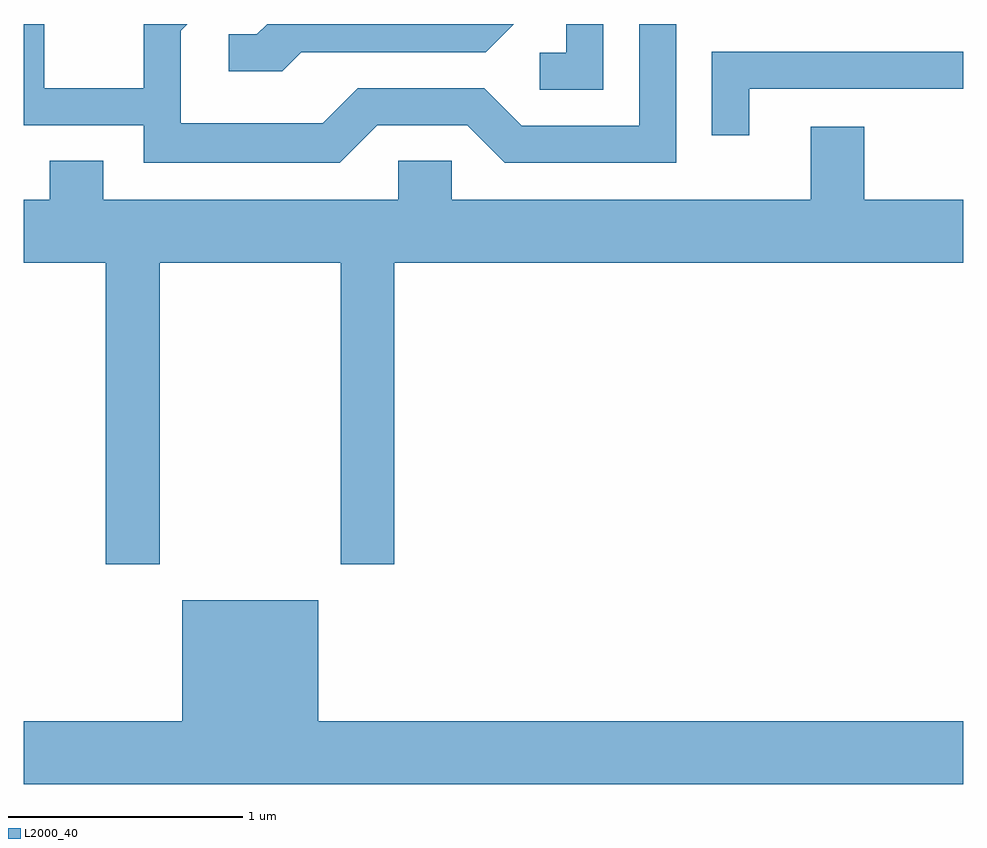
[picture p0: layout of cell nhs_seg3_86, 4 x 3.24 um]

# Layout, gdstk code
import gdstk
lib = gdstk.Library(unit=1e-6, precision=1e-09)
def P(c, l, *ps):  # polygons
    for p in ps: c.add(gdstk.Polygon(p, *l))
L2000_40 = (2000, 40)

nhs_seg3_86 = lib.new_cell('nhs_seg3_86')
P(nhs_seg3_86, L2000_40, [(190.079,1155.892),(189.921,1155.892),(189.921,1155.769),(189.808,1155.769),(189.808,1155.611),(190.079,1155.611)],
  [(188.792,1155.771),(189.577,1155.771),(189.697,1155.892),(188.647,1155.892),(188.604,1155.849),(188.483,1155.849),(188.483,1155.691),(188.712,1155.691)],
  [(189.117,1155.461),(189.499,1155.461),(189.659,1155.301),(190.389,1155.301),(190.389,1155.892),(190.231,1155.892),(190.231,1155.459),(189.732,1155.459),(189.572,1155.619),(189.034,1155.619),(188.884,1155.469),(188.279,1155.469),(188.279,1155.864),(188.307,1155.892),(188.121,1155.892),(188.121,1155.619),(187.699,1155.619),(187.699,1155.892),(187.611,1155.892),(187.611,1155.461),(188.121,1155.461),(188.121,1155.301),(188.957,1155.301)],
  [(190.699,1155.616),(191.611,1155.616),(191.611,1155.774),(190.541,1155.774),(190.541,1155.418),(190.699,1155.418)],
  [(188.189,1154.876),(188.961,1154.876),(188.961,1153.591),(189.189,1153.591),(189.189,1154.876),(191.611,1154.876),(191.611,1155.144),(191.189,1155.144),(191.189,1155.454),(190.961,1155.454),(190.961,1155.144),(189.434,1155.144),(189.434,1155.309),(189.206,1155.309),(189.206,1155.144),(187.949,1155.144),(187.949,1155.309),(187.721,1155.309),(187.721,1155.144),(187.611,1155.144),(187.611,1154.876),(187.961,1154.876),(187.961,1153.591),(188.189,1153.591)],
  [(191.611,1152.924),(188.864,1152.924),(188.864,1153.439),(188.286,1153.439),(188.286,1152.924),(187.611,1152.924),(187.611,1152.656),(191.611,1152.656)])

lib.write_gds('nhs_seg3_86.gds')
